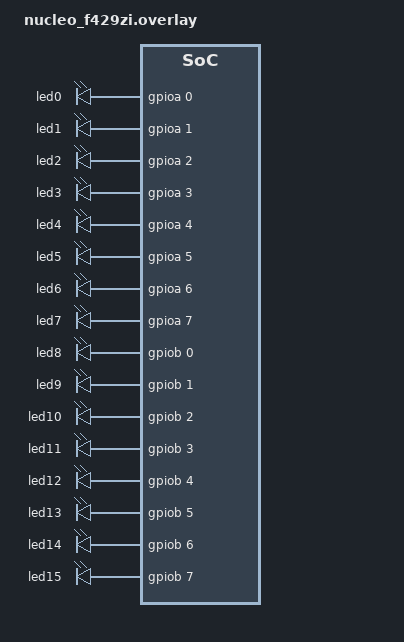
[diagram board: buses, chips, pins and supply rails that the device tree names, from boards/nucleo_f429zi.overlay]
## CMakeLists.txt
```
#-------------------------------------------------------------------------------
# Zephyr Example Application
#
# Copyright (c) 2021 Nordic Semiconductor ASA
# SPDX-License-Identifier: Apache-2.0

cmake_minimum_required(VERSION 3.13.1)
find_package(Zephyr REQUIRED HINTS $ENV{ZEPHYR_BASE})

project(app LANGUAGES C)

# Add source files
target_sources(app PRIVATE src/main.c src/gpio_control.c src/scpi_commands.c src/tcp_server.c src/http_server.c src/webpage.c)

# Include directories
target_include_directories(app PRIVATE include)
```

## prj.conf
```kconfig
# General config
CONFIG_MAIN_STACK_SIZE=4096
CONFIG_SYSTEM_WORKQUEUE_STACK_SIZE=4096
CONFIG_LOG=y
CONFIG_INIT_STACKS=y
CONFIG_ZVFS_OPEN_MAX=32
CONFIG_POSIX_API=y
CONFIG_FDTABLE=y
CONFIG_ZVFS_POLL_MAX=32
CONFIG_POSIX_TIMERS=y

# Eventfd
CONFIG_EVENTFD=y

# Networking config
CONFIG_NETWORKING=y
CONFIG_NET_IPV4=y
CONFIG_NET_IPV6=y
CONFIG_NET_TCP=y
CONFIG_NET_UDP=y
CONFIG_NET_SOCKETS=y
CONFIG_NET_IPV4_MAPPING_TO_IPV6=y

# Enable Ethernet support
CONFIG_NET_L2_ETHERNET=y
CONFIG_ETH_STM32_HAL=y
CONFIG_NET_IF_UNICAST_IPV6_ADDR_COUNT=3
CONFIG_NET_IF_MCAST_IPV6_ADDR_COUNT=4

# Network address config
CONFIG_NET_CONFIG_SETTINGS=y
CONFIG_NET_CONFIG_NEED_IPV4=y
CONFIG_NET_CONFIG_NEED_IPV6=y
CONFIG_NET_CONFIG_MY_IPV4_ADDR="10.0.1.100"
CONFIG_NET_CONFIG_MY_IPV6_ADDR="2001:db8::a00:164"

# Disable DHCP (optional)
CONFIG_NET_DHCPV4=n
CONFIG_NET_DHCPV6=n

# Enable HTTP server
CONFIG_NETWORKING=y
CONFIG_NET_IPV4=y
CONFIG_NET_TCP=y
CONFIG_NET_SOCKETS=y
CONFIG_NET_SOCKETS_ENABLE_DTLS=n
CONFIG_HTTP_PARSER=y
CONFIG_HTTP_PARSER_URL=y
CONFIG_THREAD_STACK_INFO=y
CONFIG_INIT_STACKS=y

CONFIG_HTTP_PARSER=y
CONFIG_HTTP_PARSER_URL=y
CONFIG_HTTP_SERVER=y
CONFIG_HTTP_SERVER_STACK_SIZE=3072
CONFIG_HTTP_SERVER_NUM_SERVICES=1
CONFIG_HTTP_SERVER_MAX_CLIENTS=3
CONFIG_HTTP_SERVER_MAX_STREAMS=10
CONFIG_HTTP_SERVER_CLIENT_BUFFER_SIZE=256
CONFIG_HTTP_SERVER_HUFFMAN_DECODE_BUFFER_SIZE=256
CONFIG_HTTP_SERVER_MAX_URL_LENGTH=256
CONFIG_HTTP_SERVER_MAX_CONTENT_TYPE_LENGTH=64
CONFIG_HTTP_SERVER_MAX_HEADER_LEN=32
CONFIG_HTTP_SERVER_HTTP2_MAX_HEADER_FRAME_LEN=64

CONFIG_JSON_LIBRARY=y

CONFIG_GPIO=y
```

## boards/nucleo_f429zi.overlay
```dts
/ {
    gpio_nodes {
        compatible = "gpio-leds";
        led0: led_0 {
            gpios = <&gpioa 0 GPIO_ACTIVE_HIGH>;
        };
        led1: led_1 {
            gpios = <&gpioa 1 GPIO_ACTIVE_HIGH>;
        };
        led2: led_2 {
            gpios = <&gpioa 2 GPIO_ACTIVE_HIGH>;
        };
        led3: led_3 {
            gpios = <&gpioa 3 GPIO_ACTIVE_HIGH>;
        };
        led4: led_4 {
            gpios = <&gpioa 4 GPIO_ACTIVE_HIGH>;
        };
        led5: led_5 {
            gpios = <&gpioa 5 GPIO_ACTIVE_HIGH>;
        };
        led6: led_6 {
            gpios = <&gpioa 6 GPIO_ACTIVE_HIGH>;
        };
        led7: led_7 {
            gpios = <&gpioa 7 GPIO_ACTIVE_HIGH>;
        };
        led8: led_8 {
            gpios = <&gpiob 0 GPIO_ACTIVE_HIGH>;
        };
        led9: led_9 {
            gpios = <&gpiob 1 GPIO_ACTIVE_HIGH>;
        };
        led10: led_10 {
            gpios = <&gpiob 2 GPIO_ACTIVE_HIGH>;
        };
        led11: led_11 {
            gpios = <&gpiob 3 GPIO_ACTIVE_HIGH>;
        };
        led12: led_12 {
            gpios = <&gpiob 4 GPIO_ACTIVE_HIGH>;
        };
        led13: led_13 {
            gpios = <&gpiob 5 GPIO_ACTIVE_HIGH>;
        };
        led14: led_14 {
            gpios = <&gpiob 6 GPIO_ACTIVE_HIGH>;
        };
        led15: led_15 {
            gpios = <&gpiob 7 GPIO_ACTIVE_HIGH>;
        };
    };
};
```

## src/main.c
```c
#include <zephyr/kernel.h>
#include <zephyr/device.h>
#include "gpio_control.h"
#include "scpi_commands.h"
#include "tcp_server.h"
#include "http_server.h"


K_THREAD_STACK_DEFINE(tcp_server_stack, TCP_SERVER_STACK_SIZE);

struct k_thread tcp_server_thread_data;

int main(void) {
    printk("Starting LXI I/O Expander\n");

    // Initialize GPIO
    gpio_init();

    // Initialize SCPI
    scpi_init();

    // Start TCP server in a separate thread
    k_thread_create(&tcp_server_thread_data, tcp_server_stack,
                    K_THREAD_STACK_SIZEOF(tcp_server_stack),
                    (k_thread_entry_t)tcp_server, NULL, NULL, NULL,
                    7, 0, K_NO_WAIT);

    http_server_start();

    // Add a small delay to allow both threads to start
    k_msleep(1);

    return 0;
}
```

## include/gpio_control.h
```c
#ifndef GPIO_CONTROL_H
#define GPIO_CONTROL_H

#include <zephyr/drivers/gpio.h>

// GPIO pin configuration
#define LED0_NODE DT_ALIAS(led0)
#if !DT_NODE_HAS_STATUS(LED0_NODE, okay)
#error "Unsupported board: led0 devicetree alias is not defined"
#endif
static const struct gpio_dt_spec led = GPIO_DT_SPEC_GET(LED0_NODE, gpios);

// Function prototypes
int gpio_init(void);
void gpio_set_state(int index, bool state); 

#endif // GPIO_CONTROL_H
```

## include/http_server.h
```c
#ifndef HTTP_SERVER_H
#define HTTP_SERVER_H

#include <zephyr/net/http/server.h>
#include <zephyr/net/http/service.h>


#endif // HTTP_SERVER_H
```

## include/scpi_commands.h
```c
#ifndef SCPI_COMMANDS_H
#define SCPI_COMMANDS_H

#include "scpi/scpi.h"  // Include the SCPI header file

// Function prototypes for SCPI command initialization
void scpi_init(void);

#define SCPI_INPUT_BUFFER_LENGTH 256
#define SCPI_ERROR_QUEUE_SIZE 17
#define SCPI_IDN1 "MANUFACTURE"
#define SCPI_IDN2 "INSTR2013"
#define SCPI_IDN3 NULL
#define SCPI_IDN4 "01-02"

extern const scpi_command_t scpi_commands[];
extern scpi_interface_t scpi_interface;
extern char scpi_input_buffer[];
extern scpi_error_t scpi_error_queue_data[];
extern scpi_t scpi_context;

size_t SCPI_Write(scpi_t * context, const char * data, size_t len);
int SCPI_Error(scpi_t * context, int_fast16_t err);
scpi_result_t SCPI_Control(scpi_t * context, scpi_ctrl_name_t ctrl, scpi_reg_val_t val);

scpi_result_t SCPI_SystemCommTcpipControlQ(scpi_t * context);

// Function prototypes for SCPI command handlers
scpi_result_t SCPI_DigitalOutputQ(scpi_t *context);
scpi_result_t SCPI_AnalogInputQ(scpi_t *context);

#endif // SCPI_COMMANDS_H
```

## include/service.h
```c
#ifndef SERVICE_H
#define SERVICE_H

extern void service_thread(void *p1, void *p2, void *p3);

#endif // SERVICE_H
```

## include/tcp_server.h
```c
#ifndef TCP_SERVER_H
#define TCP_SERVER_H

#include <zephyr/kernel.h>

// Define the TCP server port
#define TCP_SERVER_STACK_SIZE 2048
#define TCP_SERVER_PORT 5025

// Function prototype for the TCP server
void tcp_server(void);

#endif // TCP_SERVER_H
```

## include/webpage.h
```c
#ifndef WEBPAGE_H
#define WEBPAGE_H

#define INDEX_HTML_LENGTH 7651
extern const char index_html[];

#endif // WEBPAGE_H
```

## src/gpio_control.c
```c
#include "gpio_control.h"
#include <zephyr/kernel.h>
#include <zephyr/drivers/gpio.h>


// static const struct gpio_dt_spec gpios[] = {
//     GPIO_DT_SPEC_GET(DT_PATH(gpio_nodes, led_0), gpios),
//     GPIO_DT_SPEC_GET(DT_PATH(gpio_nodes, led_1), gpios),
//     GPIO_DT_SPEC_GET(DT_PATH(gpio_nodes, led_2), gpios),
//     GPIO_DT_SPEC_GET(DT_PATH(gpio_nodes, led_3), gpios),
//     GPIO_DT_SPEC_GET(DT_PATH(gpio_nodes, led_4), gpios),
//     GPIO_DT_SPEC_GET(DT_PATH(gpio_nodes, led_5), gpios),
//     GPIO_DT_SPEC_GET(DT_PATH(gpio_nodes, led_6), gpios),
//     GPIO_DT_SPEC_GET(DT_PATH(gpio_nodes, led_7), gpios),
//     GPIO_DT_SPEC_GET(DT_PATH(gpio_nodes, led_8), gpios),
//     GPIO_DT_SPEC_GET(DT_PATH(gpio_nodes, led_9), gpios),
//     GPIO_DT_SPEC_GET(DT_PATH(gpio_nodes, led_10), gpios),
//     GPIO_DT_SPEC_GET(DT_PATH(gpio_nodes, led_11), gpios),
//     GPIO_DT_SPEC_GET(DT_PATH(gpio_nodes, led_12), gpios),
//     GPIO_DT_SPEC_GET(DT_PATH(gpio_nodes, led_13), gpios),
//     GPIO_DT_SPEC_GET(DT_PATH(gpio_nodes, led_14), gpios),
//     GPIO_DT_SPEC_GET(DT_PATH(gpio_nodes, led_15), gpios),
// };

int gpio_init(void) 
{
    // int ret;
    // for (int i = 0; i < 16; i++) {
    //     if (!device_is_ready(gpios[i].port)) {
    //         printk("Error: GPIO %d not ready\n", i);
    //         return -1;
    //     }

    //     ret = gpio_pin_configure_dt(&gpios[i], GPIO_OUTPUT_ACTIVE);
    //     if (ret < 0) {
    //         printk("Error configuring GPIO %d\n", i);
    //         return -1;
    //     }
    // }
    return 0;
}

void gpio_set_state(int index, bool state) 
{
    // if( index < 16 )
    // {
    //     gpio_pin_set(gpios[index].port, gpios[index].pin, state);
    // }
}
```

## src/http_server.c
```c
#include "http_server.h"
#include <stdio.h>
#include <inttypes.h>
#include <zephyr/kernel.h>
#include <zephyr/net/tls_credentials.h>
#include <zephyr/net/net_ip.h>
#include <zephyr/net/socket.h>
#include "zephyr/device.h"
#include "zephyr/sys/util.h"
#include <zephyr/drivers/led.h>
#include <zephyr/data/json.h>
#include <zephyr/sys/util_macro.h>
#include <zephyr/logging/log.h>
#include <zephyr/data/json.h>

struct json_data {
    char ip_address[16];
    char subnet_mask[16];
    char gateway[16];
};

LOG_MODULE_REGISTER(http_server, LOG_LEVEL_DBG);

static const uint8_t index_html_gz[] = {
    #include "index.html.gz.inc"
};

static struct http_resource_detail_static index_html_gz_resource_detail = {
	.common = {
			.type = HTTP_RESOURCE_TYPE_STATIC,
			.bitmask_of_supported_http_methods = BIT(HTTP_GET),
			.content_encoding = "gzip",
			.content_type = "text/html",
		},
	.static_data = index_html_gz,
	.static_data_len = sizeof(index_html_gz),
};

static const uint8_t millipede_logo_html_gz[] = {
    #include "millipede-logo-dark-gray.png.gz.inc"
};

static struct http_resource_detail_static millipede_logo_html_gz_resource_detail = {
	.common = {
			.type = HTTP_RESOURCE_TYPE_STATIC,
			.bitmask_of_supported_http_methods = BIT(HTTP_GET),
			.content_encoding = "gzip",
			.content_type = "text/html",
		},
	.static_data = millipede_logo_html_gz,
	.static_data_len = sizeof(millipede_logo_html_gz),
};


int apply_network_config(const char* ip_address, const char* subnet_mask, const char* gateway)
{
	// Apply the network configuration
	// TODO: Implement this function
	return 0;
}

// Define the handler for the "/configure" HTTP resource
static int dyn_configure_handler(struct http_client_ctx *client,
                                 enum http_data_status status,
                                 const struct http_request_ctx *request_ctx,
                                 struct http_response_ctx *response_ctx,
                                 void *user_data)
{
   #define MAX_TEMP_PRINT_LEN 32
    static char print_str[MAX_TEMP_PRINT_LEN];
    enum http_method method = client->method;
    static size_t processed;

    __ASSERT_NO_MSG(buffer != NULL);

    if (status == HTTP_SERVER_DATA_ABORTED) {
        LOG_DBG("Transaction aborted after %zd bytes.", processed);
        processed = 0;
        return 0;
    }

    processed += request_ctx->data_len;

    snprintf(print_str, sizeof(print_str), "%s received (%zd bytes)",
             http_method_str(method), request_ctx->data_len);
    LOG_HEXDUMP_DBG(request_ctx->data, request_ctx->data_len, print_str);

    if (status == HTTP_SERVER_DATA_FINAL) {
        LOG_DBG("All data received (%zd bytes).", processed);
        processed = 0;
    }

    /* Parse the JSON */
   	struct json_data data;
    struct json_obj_descr json_descr[] = {
        JSON_OBJ_DESCR_PRIM(struct json_data, ip_address, JSON_TOK_STRING),
        JSON_OBJ_DESCR_PRIM(struct json_data, subnet_mask, JSON_TOK_STRING),
        JSON_OBJ_DESCR_PRIM(struct json_data, gateway, JSON_TOK_STRING),
    };

    int ret = json_obj_parse(request_ctx->data, request_ctx->data_len, json_descr, ARRAY_SIZE(json_descr), &data);
    if (ret < 0) {
        LOG_ERR("Failed to parse JSON: %d", ret);
        return -1;
    }

    int success = apply_network_config(data.ip_address, data.subnet_mask, data.gateway);
    if (success == 0) {
        LOG_INF("Network configuration applied successfully.");
    } else {
        LOG_ERR("Failed to apply network configuration.");
    }

    /* Echo data back to client */
    response_ctx->body = request_ctx->data;
    response_ctx->body_len = request_ctx->data_len;
    response_ctx->final_chunk = (status == HTTP_SERVER_DATA_FINAL);

    return 0;
}


struct http_resource_detail_dynamic configure_resource_detail = {
    .common = {
        .type = HTTP_RESOURCE_TYPE_DYNAMIC,
        .bitmask_of_supported_http_methods = BIT(HTTP_POST),
    },
    .cb = dyn_configure_handler,
    .user_data = NULL,
};

static uint16_t http_service_port = 80;

HTTP_SERVICE_DEFINE(test_http_service, "0.0.0.0", &http_service_port, 1, 10, NULL);

HTTP_RESOURCE_DEFINE(index_html_gz_resource, test_http_service, "/",
		     &index_html_gz_resource_detail);

HTTP_RESOURCE_DEFINE(millipede_logo_html_gz_resource, test_http_service, "/millipede-logo-dark-gray.png",
		     &millipede_logo_html_gz_resource_detail);

HTTP_RESOURCE_DEFINE(configure_resource, test_http_service, "/configure",
                     &configure_resource_detail);
```

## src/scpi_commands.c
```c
/*-
 * BSD 2-Clause License
 *
 * Copyright (c) 2012-2018, Jan Breuer
 * All rights reserved.
 *
 * Redistribution and use in source and binary forms, with or without
 * modification, are permitted provided that the following conditions are met:
 *
 * * Redistributions of source code must retain the above copyright notice, this
 *   list of conditions and the following disclaimer.
 *
 * * Redistributions in binary form must reproduce the above copyright notice,
 *   this list of conditions and the following disclaimer in the documentation
 *   and/or other materials provided with the distribution.
 *
 * THIS SOFTWARE IS PROVIDED BY THE COPYRIGHT HOLDERS AND CONTRIBUTORS "AS IS"
 * AND ANY EXPRESS OR IMPLIED WARRANTIES, INCLUDING, BUT NOT LIMITED TO, THE
 * IMPLIED WARRANTIES OF MERCHANTABILITY AND FITNESS FOR A PARTICULAR PURPOSE ARE
 * DISCLAIMED. IN NO EVENT SHALL THE COPYRIGHT HOLDER OR CONTRIBUTORS BE LIABLE
 * FOR ANY DIRECT, INDIRECT, INCIDENTAL, SPECIAL, EXEMPLARY, OR CONSEQUENTIAL
 * DAMAGES (INCLUDING, BUT NOT LIMITED TO, PROCUREMENT OF SUBSTITUTE GOODS OR
 * SERVICES; LOSS OF USE, DATA, OR PROFITS; OR BUSINESS INTERRUPTION) HOWEVER
 * CAUSED AND ON ANY THEORY OF LIABILITY, WHETHER IN CONTRACT, STRICT LIABILITY,
 * OR TORT (INCLUDING NEGLIGENCE OR OTHERWISE) ARISING IN ANY WAY OUT OF THE USE
 * OF THIS SOFTWARE, EVEN IF ADVISED OF THE POSSIBILITY OF SUCH DAMAGE.
 */

/**
 * @file   scpi-def.c
 * @date   Thu Nov 15 10:58:45 UTC 2012
 *
 * @brief  SCPI parser test
 *
 *
 */

#include <stdio.h>
#include <stdlib.h>
#include <string.h>
#include "scpi/scpi.h"
#include "scpi_commands.h"
#include "gpio_control.h"
#include <zephyr/drivers/gpio.h>
#include <zephyr/net/socket.h>


// Write callback: SEnd data back to the client
size_t SCPI_Write(scpi_t *context, const char *data, size_t len) 
{
    if (context->user_context != NULL) 
    {
        int client = *(int*)context->user_context; // Get the client socket from the context
        return zsock_send(client, data, len, 0); // Send data to the client
    }
    return 0;
}

// Error callback: Hanlde SCPI errors
int SCPI_Error(scpi_t * context, int_fast16_t err)
{
    (void) context;
    /* BEEP */
    printk("**ERROR: %d, \"%s\"\r\n", (int16_t) err, SCPI_ErrorTranslate(err));
    return 0;
}

scpi_result_t SCPI_Control(scpi_t * context, scpi_ctrl_name_t ctrl, scpi_reg_val_t val)
{
    (void) context;

    if (SCPI_CTRL_SRQ == ctrl) {
        printk("**SRQ: 0x%X (%d)\r\n", val, val);
    } else {
        printk("**CTRL %02x: 0x%X (%d)\r\n", ctrl, val, val);
    }
    return SCPI_RES_OK;
}

// Initialize the SCPI context
void scpi_init(void) 
{
    SCPI_Init(&scpi_context,
            scpi_commands,
            &scpi_interface,
            scpi_units_def,
            SCPI_IDN1, SCPI_IDN2, SCPI_IDN3, SCPI_IDN4,
            scpi_input_buffer, SCPI_INPUT_BUFFER_LENGTH,
            scpi_error_queue_data, SCPI_ERROR_QUEUE_SIZE);
}

// SCPI command handler for digital output query
scpi_result_t SCPI_DigitalOutputQ(scpi_t *context) {
    int32_t state;
    if(!SCPI_ParamInt(context, &state, true)) {
        return SCPI_RES_ERR;
    }

    // gpio_set_led_state(state);
    return SCPI_RES_OK;
}

// SCPI command handler for analog input query
scpi_result_t SCPI_AnalogInputQ(scpi_t *context) {
    int32_t channel;
    if(!SCPI_ParamInt(context, &channel, true)) {
        return SCPI_RES_ERR;
    }

    // Read analog input value
    // int32_t value = read_analog_input(channel);
    SCPI_ResultInt(context, 1234);
    return SCPI_RES_OK;
}

/**
 * Reimplement IEEE488.2 *TST?
 *
 * Result should be 0 if everything is ok
 * Result should be 1 if something goes wrong
 *
 * Return SCPI_RES_OK
 */
static scpi_result_t My_CoreTstQ(scpi_t * context) {

    SCPI_ResultInt32(context, 0);

    return SCPI_RES_OK;
}

const scpi_command_t scpi_commands[] = {
    /* IEEE Mandated Commands (SCPI std V1999.0 4.1.1) */
    { .pattern = "*CLS", .callback = SCPI_CoreCls,},
    { .pattern = "*ESE", .callback = SCPI_CoreEse,},
    { .pattern = "*ESE?", .callback = SCPI_CoreEseQ,},
    { .pattern = "*ESR?", .callback = SCPI_CoreEsrQ,},
    { .pattern = "*IDN?", .callback = SCPI_CoreIdnQ,},
    { .pattern = "*OPC", .callback = SCPI_CoreOpc,},
    { .pattern = "*OPC?", .callback = SCPI_CoreOpcQ,},
    { .pattern = "*RST", .callback = SCPI_CoreRst,},
    { .pattern = "*SRE", .callback = SCPI_CoreSre,},
    { .pattern = "*SRE?", .callback = SCPI_CoreSreQ,},
    { .pattern = "*STB?", .callback = SCPI_CoreStbQ,},
    { .pattern = "*TST?", .callback = My_CoreTstQ,},
    { .pattern = "*WAI", .callback = SCPI_CoreWai,},

    /* Required SCPI commands (SCPI std V1999.0 4.2.1) */
    {.pattern = "SYSTem:ERRor[:NEXT]?", .callback = SCPI_SystemErrorNextQ,},
    {.pattern = "SYSTem:ERRor:COUNt?", .callback = SCPI_SystemErrorCountQ,},
    {.pattern = "SYSTem:VERSion?", .callback = SCPI_SystemVersionQ,},

    /* {.pattern = "STATus:OPERation?", .callback = scpi_stub_callback,}, */
    /* {.pattern = "STATus:OPERation:EVENt?", .callback = scpi_stub_callback,}, */
    /* {.pattern = "STATus:OPERation:CONDition?", .callback = scpi_stub_callback,}, */
    /* {.pattern = "STATus:OPERation:ENABle", .callback = scpi_stub_callback,}, */
    /* {.pattern = "STATus:OPERation:ENABle?", .callback = scpi_stub_callback,}, */

    {.pattern = "STATus:QUEStionable[:EVENt]?", .callback = SCPI_StatusQuestionableEventQ,},
    /* {.pattern = "STATus:QUEStionable:CONDition?", .callback = scpi_stub_callback,}, */
    {.pattern = "STATus:QUEStionable:ENABle", .callback = SCPI_StatusQuestionableEnable,},
    {.pattern = "STATus:QUEStionable:ENABle?", .callback = SCPI_StatusQuestionableEnableQ,},

    {.pattern = "STATus:PRESet", .callback = SCPI_StatusPreset,},

    { .pattern = "DIGITAL:OUTPUT", .callback = SCPI_DigitalOutputQ,},

    // /* DMM */
    // {.pattern = "MEASure:VOLTage:DC?", .callback = DMM_MeasureVoltageDcQ,},
    // {.pattern = "CONFigure:VOLTage:DC", .callback = DMM_ConfigureVoltageDc,},
    // {.pattern = "MEASure:VOLTage:DC:RATio?", .callback = SCPI_StubQ,},
    // {.pattern = "MEASure:VOLTage:AC?", .callback = DMM_MeasureVoltageAcQ,},
    // {.pattern = "MEASure:CURRent:DC?", .callback = SCPI_StubQ,},
    // {.pattern = "MEASure:CURRent:AC?", .callback = SCPI_StubQ,},
    // {.pattern = "MEASure:RESistance?", .callback = SCPI_StubQ,},
    // {.pattern = "MEASure:FRESistance?", .callback = SCPI_StubQ,},
    // {.pattern = "MEASure:FREQuency?", .callback = SCPI_StubQ,},
    // {.pattern = "MEASure:PERiod?", .callback = SCPI_StubQ,},

    // {.pattern = "SYSTem:COMMunication:TCPIP:CONTROL?", .callback = SCPI_SystemCommTcpipControlQ,},

    // {.pattern = "TEST:BOOL", .callback = TEST_Bool,},
    // {.pattern = "TEST:CHOice?", .callback = TEST_ChoiceQ,},
    // {.pattern = "TEST#:NUMbers#", .callback = TEST_Numbers,},
    // {.pattern = "TEST:TEXT", .callback = TEST_Text,},
    // {.pattern = "TEST:ARBitrary?", .callback = TEST_ArbQ,},
    // {.pattern = "TEST:CHANnellist", .callback = TEST_Chanlst,},

    SCPI_CMD_LIST_END
};

scpi_interface_t scpi_interface = {
    .error = SCPI_Error,
    .write = SCPI_Write,
    .control = SCPI_Control,
    .flush = NULL, //SCPI_Flush,
    .reset = NULL, //SCPI_Reset,
};

char scpi_input_buffer[SCPI_INPUT_BUFFER_LENGTH];
scpi_error_t scpi_error_queue_data[SCPI_ERROR_QUEUE_SIZE];

scpi_t scpi_context;
```

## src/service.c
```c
/*
 * Copyright (c) 2020 Friedt Professional Engineering Services, Inc
 *
 * SPDX-License-Identifier: Apache-2.0
 */

#include <errno.h>
#include <zephyr/net/dns_sd.h>
#include <zephyr/net/net_context.h>
#include <zephyr/net/socket.h>
#include <zephyr/posix/netinet/in.h>
#include <stdint.h>
#include <stdio.h>
#include <string.h>
#include <zephyr/kernel.h>
#include <zephyr/net/net_event.h>
#include <zephyr/net/net_if.h>

#include <zephyr/logging/log.h>
LOG_MODULE_REGISTER(mdns_echo_service, LOG_LEVEL_DBG);

#include "service.h"

/* A default port of 0 causes Zephyr to assign an ephemeral port */
#define DEFAULT_PORT 0

void service(void);

/* Function to send a welcome message to the client */
static int welcome(struct net_context *ctx)
{
    static const char msg[] = "Bonjour, Zephyr world!\n";
    return net_context_send(ctx, msg, sizeof(msg), NULL, K_NO_WAIT, NULL);
}

/* Function to wait for the network to be ready */
static void wait_for_network(void)
{
    struct net_if *iface = net_if_get_default();

    LOG_INF("Waiting for network to be ready...");
    while (!net_if_is_up(iface)) {
        k_msleep(100);
    }
    LOG_INF("Network is ready");
}

/* Thread entry point for the mDNS service */
void service_thread(void *p1, void *p2, void *p3)
{
    ARG_UNUSED(p1);
    ARG_UNUSED(p2);
    ARG_UNUSED(p3);

    /* Wait for the network to be ready */
    wait_for_network();

    /* Start the mDNS service */
    service();
}

// Define the callback function
void my_accept_callback(struct net_context *new_context, struct sockaddr *addr, socklen_t addrlen, int status, void *user_data) {
    // Handle the new connection here
    if (status == 0) {
        // Connection accepted, do something with the new_context
    } else {
        // Handle error
    }
}

/* mDNS service implementation */
void service(void)
{
    int r;
    struct net_context *server_ctx;
    struct net_context *client_ctx;
    struct sockaddr server_addr;
    struct sockaddr client_addr;
    socklen_t client_addr_len;
    char addrstr[INET6_ADDRSTRLEN];
    uint8_t line[64];

#if DEFAULT_PORT == 0
    /* The advanced use case: ephemeral port */
#if defined(CONFIG_NET_IPV6)
    DNS_SD_REGISTER_SERVICE(zephyr, CONFIG_NET_HOSTNAME,
                "_zephyr", "_tcp", "local", DNS_SD_EMPTY_TXT,
                &((struct sockaddr_in6 *)&server_addr)->sin6_port);
#elif defined(CONFIG_NET_IPV4)
    DNS_SD_REGISTER_SERVICE(zephyr, CONFIG_NET_HOSTNAME,
                "_zephyr", "_tcp", "local", DNS_SD_EMPTY_TXT,
                &((struct sockaddr_in *)&server_addr)->sin_port);
#endif
#else
    /* The simple use case: fixed port */
    DNS_SD_REGISTER_TCP_SERVICE(zephyr, CONFIG_NET_HOSTNAME,
                    "_zephyr", "local", DNS_SD_EMPTY_TXT, DEFAULT_PORT);
#endif

#if defined(CONFIG_NET_IPV6)
    struct sockaddr_in6 *addr6 = (struct sockaddr_in6 *)&server_addr;
    addr6->sin6_family = AF_INET6;
    addr6->sin6_addr = in6addr_any;
    addr6->sin6_port = htons(DEFAULT_PORT); // Set the port after initializing the struct
    DNS_SD_REGISTER_SERVICE(zephyr, CONFIG_NET_HOSTNAME,
                "_zephyr", "_tcp", "local", DNS_SD_EMPTY_TXT,
                addr6->sin6_port);
#elif defined(CONFIG_NET_IPV4)
    struct sockaddr_in *addr4 = (struct sockaddr_in *)&server_addr;
    addr4->sin_family = AF_INET;
    addr4->sin_addr.s_addr = htonl(INADDR_ANY);
    addr4->sin_port = htons(DEFAULT_PORT);
    DNS_SD_REGISTER_SERVICE(zephyr, CONFIG_NET_HOSTNAME,
                "_zephyr", "_tcp", "local", DNS_SD_EMPTY_TXT,
                addr4->sin_port);
#endif


    r = net_context_get(AF_INET6, SOCK_STREAM, IPPROTO_TCP, &server_ctx);
    if (r < 0) {
        LOG_ERR("Failed to get net_context (%d)", r);
        return;
    }

    r = net_context_bind(server_ctx, (struct sockaddr *)&server_addr, sizeof(server_addr));
    if (r < 0) {
        LOG_ERR("Failed to bind net_context (%d)", r);
        net_context_unref(server_ctx);
        return;
    }

    LOG_INF("Server listening on port %d", ntohs(((struct sockaddr_in *)&server_addr)->sin_port));

    r = net_context_listen(server_ctx, 1);
    if (r < 0) {
        LOG_ERR("Failed to listen on net_context (%d)", r);
        net_context_unref(server_ctx);
        return;
    }

    for (;;) {
        client_addr_len = sizeof(client_addr);
        r = net_context_accept(server_ctx, my_accept_callback, K_FOREVER, NULL);
        if (r < 0) {
            LOG_ERR("Failed to accept connection (%d)", r);
            continue;
        }

        /* Convert client address to string */
        void *addrp = IS_ENABLED(CONFIG_NET_IPV6)
                          ? (void *)&((struct sockaddr_in6 *)&client_addr)->sin6_addr
                          : (void *)&((struct sockaddr_in *)&client_addr)->sin_addr;
        inet_ntop(client_addr.sa_family, addrp, addrstr, sizeof(addrstr));
        uint16_t client_port = ntohs(IS_ENABLED(CONFIG_NET_IPV6)
                                         ? ((struct sockaddr_in6 *)&client_addr)->sin6_port
                                         : ((struct sockaddr_in *)&client_addr)->sin_port);

        LOG_INF("Accepted connection from [%s]:%u", addrstr, client_port);

        /* Send a banner */
        r = welcome(client_ctx);
        if (r < 0) {
            LOG_ERR("Failed to send welcome message (%d)", r);
            net_context_unref(client_ctx);
            continue;
        }

        /* Echo received data */
        while (true) {
            r = net_context_recv(client_ctx, NULL, K_FOREVER, NULL);
            if (r < 0) {
                LOG_ERR("Failed to receive data (%d)", r);
                break;
            }

            r = net_context_send(client_ctx, line, r, NULL, K_NO_WAIT, NULL);
            if (r < 0) {
                LOG_ERR("Failed to send data (%d)", r);
                break;
            }
        }

        net_context_unref(client_ctx);
    }
}
```

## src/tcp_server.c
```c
#include "tcp_server.h"
#include <zephyr/net/socket.h>
#include <zephyr/net/net_ip.h>
#include <zephyr/kernel.h>
#include <string.h>
#include "scpi_commands.h"

#include <zephyr/net/net_if.h>
#include <zephyr/net/net_mgmt.h>


void tcp_server(void) 
{
    int sock, client;
    struct sockaddr_in addr;
    char buffer[256];
    int ret;
    sock = zsock_socket(AF_INET, SOCK_STREAM, IPPROTO_TCP);
    if (sock < 0) {
        printk("Failed to create socket\n");
        return;
    }
    memset(&addr, 0, sizeof(addr));
    addr.sin_family = AF_INET;
    addr.sin_port = htons(TCP_SERVER_PORT);
    addr.sin_addr.s_addr = htonl(INADDR_ANY);

    if (zsock_bind(sock, (struct sockaddr *)&addr, sizeof(addr)) < 0) {
        printk("Failed to bind socket\n");
        zsock_close(sock);
        return;
    }

    if (zsock_listen(sock, 1) < 0) {
        printk("Failed to listen on socket\n");
        zsock_close(sock);
        return;
    }

    printk("TCP server listening on port %d\n", TCP_SERVER_PORT);

    while (1) {
        client = zsock_accept(sock, NULL, NULL);
        if (client < 0) {
            printk("Failed to accept connection\n");
            continue;
        }
        // Set the client socket as the user context for SCPI
        scpi_context.user_context = &client;
        while (1) {
            ret = zsock_recv(client, buffer, sizeof(buffer), 0);
            if (ret <= 0) {
                break;
            }
            // Pass the received command to libscpi
            SCPI_Input(&scpi_context, buffer, ret);
            // Yield periodically to allow other threads to run
            k_yield(); // This gives other threads a chance to execute
        }
        zsock_close(client);
    }
}
```
